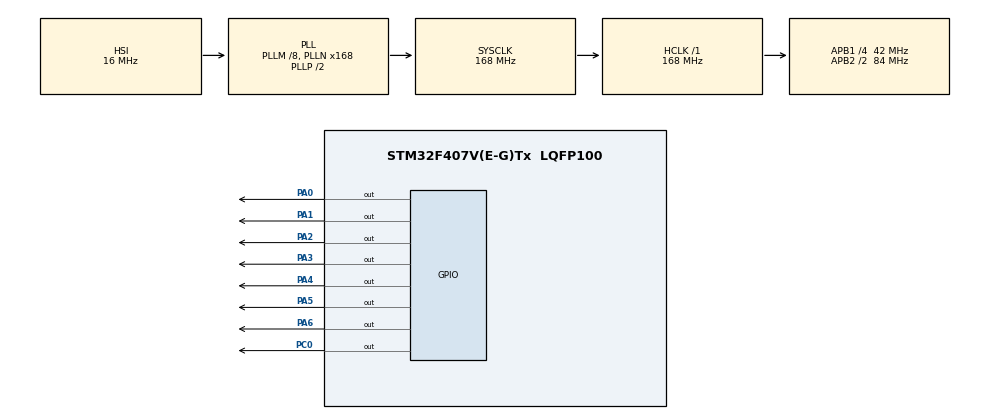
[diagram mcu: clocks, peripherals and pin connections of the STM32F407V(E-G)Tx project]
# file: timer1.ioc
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Mcu.Family=STM32F4
Mcu.Name=STM32F407V(E-G)Tx
Mcu.Package=LQFP100
NVIC.PriorityGroup=NVIC_PRIORITYGROUP_4
NVIC.TIM2_IRQn=true\:0\:0\:false\:false\:true\:true\:true\:true
PA0-WKUP.Signal=GPIO_Output
PA1.Signal=GPIO_Output
PA2.Signal=GPIO_Output
PA3.Signal=GPIO_Output
PA4.Signal=GPIO_Output
PA5.Signal=GPIO_Output
PA6.Signal=GPIO_Output
PC0.Signal=GPIO_Output
PH0-OSC_IN.Mode=HSE-External-Oscillator
PH0-OSC_IN.Signal=RCC_OSC_IN
PH1-OSC_OUT.Mode=HSE-External-Oscillator
PH1-OSC_OUT.Signal=RCC_OSC_OUT
ProjectManager.HeapSize=0x200
ProjectManager.StackSize=0x400
ProjectManager.TargetToolchain=MDK-ARM V5.32
RCC.48MHZClocksFreq_Value=84000000
RCC.AHBFreq_Value=168000000
RCC.APB1CLKDivider=RCC_HCLK_DIV4
RCC.APB1Freq_Value=42000000
RCC.APB1TimFreq_Value=84000000
RCC.APB2CLKDivider=RCC_HCLK_DIV2
RCC.APB2Freq_Value=84000000
RCC.APB2TimFreq_Value=168000000
RCC.CortexFreq_Value=168000000
RCC.HCLKFreq_Value=168000000
RCC.HSE_VALUE=8000000
RCC.HSI_VALUE=16000000
RCC.LSE_VALUE=32768
RCC.PLLM=8
RCC.PLLN=168
RCC.SYSCLKFreq_VALUE=168000000
RCC.SYSCLKSource=RCC_SYSCLKSOURCE_PLLCLK
RCC.VCOOutputFreq_Value=336000000
TIM2.Period=99999
TIM2.Prescaler=41
VP_TIM2_VS_ClockSourceINT.Mode=Internal
board=custom

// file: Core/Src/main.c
/* USER CODE BEGIN Header */
/**
 ******************************************************************************
 * @file           : main.c
 * @brief          : Main program body
 ******************************************************************************
 * @attention
 *
 * Copyright (c) 2025 STMicroelectronics.
 * All rights reserved.
 *
 * This software is licensed under terms that can be found in the LICENSE file
 * in the root directory of this software component.
 * If no LICENSE file comes with this software, it is provided AS-IS.
 *
 ******************************************************************************
 */
/* USER CODE END Header */
#include "main.h"

/* USER CODE BEGIN Includes */
#include "STM_MY_LCD16X2.h"
#include <stdio.h>
#include <stm32f407xx.h>
#include <stm32f4xx_hal_tim.h>

/* USER CODE END Includes */

TIM_HandleTypeDef htim2;

/* USER CODE BEGIN PV */
int count = 0, sec = 0, min = 51, hour = 9;
char flag = 0;

/* USER CODE END PV */

void SystemClock_Config(void);
static void MX_GPIO_Init(void);
static void MX_TIM2_Init(void);
/* USER CODE BEGIN PFP */
void HAL_TIM_PeriodElapsedCallback(TIM_HandleTypeDef* htim);
/* USER CODE END PFP */

/* USER CODE BEGIN 0 */
void HAL_TIM_PeriodElapsedCallback(TIM_HandleTypeDef* htim)
{
	if (htim->Instance == TIM2)
	{
		HAL_GPIO_TogglePin(GPIOC, GPIO_PIN_0);

		count++;
		if (count == 10)
		{
			count = 0;
			sec++;
			flag = 1;
			if (sec == 60)
			{
				sec = 0;
				min++;
				if (min == 60)
				{
					min = 0;
					hour++;
					if (hour == 24)
					{
						hour = 0;
					}
				}
			}
		}
	}
}
/* USER CODE END 0 */

int main(void)
{

	/* MCU Configuration--------------------------------------------------------*/

	/* Reset of all peripherals, Initializes the Flash interface and the Systick. */
	HAL_Init();

	/* Configure the system clock */
	SystemClock_Config();

	/* Initialize all configured peripherals */
	MX_GPIO_Init();
	MX_TIM2_Init();
	/* USER CODE BEGIN 2 */
	HAL_TIM_Base_Start_IT(&htim2);
	LCD1602_Begin4BIT(GPIOA, GPIO_PIN_0, GPIO_PIN_1, GPIOA, GPIO_PIN_3, GPIO_PIN_4, GPIO_PIN_5, GPIO_PIN_6);

	/* USER CODE END 2 */

	/* Infinite loop */
	/* USER CODE BEGIN WHILE */
	while (1)
	{
		// LCD1602_clear();
		// LCD1602_print("Microlab ");
		// HAL_Delay(500);
		// LCD1602_2ndLine();
		// LCD1602_print("ECE.IUT.AC.IR");
		// HAL_Delay(500);
		// LCD1602_clear();
		// LCD1602_PrintInt(12345);
		// HAL_Delay(500);
		// LCD1602_2ndLine();
		// LCD1602_PrintFloat(14.567894, 6);
		// HAL_Delay(500);
		//+++++++++++++++++++++++++++++++++++++++++++++++++++++++++++++++++++++++++++++++++++++++++++
		if (flag)
		{
			LCD1602_clear();
			LCD1602_PrintInt(hour);
			LCD1602_print(":");
			LCD1602_PrintInt(min);
			LCD1602_print(":");
			LCD1602_PrintInt(sec);
			flag = 0;
		}
		/* USER CODE END WHILE */

	}
}

void SystemClock_Config(void)
{
	RCC_OscInitTypeDef RCC_OscInitStruct = { 0 };
	RCC_ClkInitTypeDef RCC_ClkInitStruct = { 0 };

	/** Configure the main internal regulator output voltage
	 */
	__HAL_RCC_PWR_CLK_ENABLE();
	__HAL_PWR_VOLTAGESCALING_CONFIG(PWR_REGULATOR_VOLTAGE_SCALE1);

	/** Initializes the RCC Oscillators according to the specified parameters
	 * in the RCC_OscInitTypeDef structure.
	 */
	RCC_OscInitStruct.OscillatorType = RCC_OSCILLATORTYPE_HSI;
	RCC_OscInitStruct.HSIState = RCC_HSI_ON;
	RCC_OscInitStruct.HSICalibrationValue = RCC_HSICALIBRATION_DEFAULT;
	RCC_OscInitStruct.PLL.PLLState = RCC_PLL_ON;
	RCC_OscInitStruct.PLL.PLLSource = RCC_PLLSOURCE_HSI;
	RCC_OscInitStruct.PLL.PLLM = 8;
	RCC_OscInitStruct.PLL.PLLN = 168;
	RCC_OscInitStruct.PLL.PLLP = RCC_PLLP_DIV2;
	RCC_OscInitStruct.PLL.PLLQ = 4;
	if (HAL_RCC_OscConfig(&RCC_OscInitStruct) != HAL_OK)
	{
		Error_Handler();
	}

	/** Initializes the CPU, AHB and APB buses clocks
	 */
	RCC_ClkInitStruct.ClockType = RCC_CLOCKTYPE_HCLK | RCC_CLOCKTYPE_SYSCLK
		| RCC_CLOCKTYPE_PCLK1 | RCC_CLOCKTYPE_PCLK2;
	RCC_ClkInitStruct.SYSCLKSource = RCC_SYSCLKSOURCE_PLLCLK;
	RCC_ClkInitStruct.AHBCLKDivider = RCC_SYSCLK_DIV1;
	RCC_ClkInitStruct.APB1CLKDivider = RCC_HCLK_DIV4;
	RCC_ClkInitStruct.APB2CLKDivider = RCC_HCLK_DIV2;

	if (HAL_RCC_ClockConfig(&RCC_ClkInitStruct, FLASH_LATENCY_5) != HAL_OK)
	{
		Error_Handler();
	}
}

static void MX_TIM2_Init(void)
{

	TIM_ClockConfigTypeDef sClockSourceConfig = { 0 };
	TIM_MasterConfigTypeDef sMasterConfig = { 0 };

	htim2.Instance = TIM2;
	htim2.Init.Prescaler = 41;
	htim2.Init.CounterMode = TIM_COUNTERMODE_UP;
	htim2.Init.Period = 99999;
	htim2.Init.ClockDivision = TIM_CLOCKDIVISION_DIV1;
	htim2.Init.AutoReloadPreload = TIM_AUTORELOAD_PRELOAD_DISABLE;
	if (HAL_TIM_Base_Init(&htim2) != HAL_OK)
	{
		Error_Handler();
	}
	sClockSourceConfig.ClockSource = TIM_CLOCKSOURCE_INTERNAL;
	if (HAL_TIM_ConfigClockSource(&htim2, &sClockSourceConfig) != HAL_OK)
	{
		Error_Handler();
	}
	sMasterConfig.MasterOutputTrigger = TIM_TRGO_RESET;
	sMasterConfig.MasterSlaveMode = TIM_MASTERSLAVEMODE_DISABLE;
	if (HAL_TIMEx_MasterConfigSynchronization(&htim2, &sMasterConfig) != HAL_OK)
	{
		Error_Handler();
	}
}

static void MX_GPIO_Init(void)
{
	GPIO_InitTypeDef GPIO_InitStruct = { 0 };

	/* GPIO Ports Clock Enable */
	__HAL_RCC_GPIOH_CLK_ENABLE();
	__HAL_RCC_GPIOC_CLK_ENABLE();
	__HAL_RCC_GPIOA_CLK_ENABLE();

	/*Configure GPIO pin Output Level */
	HAL_GPIO_WritePin(GPIOC, GPIO_PIN_0, GPIO_PIN_RESET);

	/*Configure GPIO pin Output Level */
	HAL_GPIO_WritePin(GPIOA, GPIO_PIN_0 | GPIO_PIN_1 | GPIO_PIN_2 | GPIO_PIN_3 | GPIO_PIN_4 | GPIO_PIN_5 | GPIO_PIN_6, GPIO_PIN_RESET);

	/*Configure GPIO pin : PC0 */
	GPIO_InitStruct.Pin = GPIO_PIN_0;
	GPIO_InitStruct.Mode = GPIO_MODE_OUTPUT_PP;
	GPIO_InitStruct.Pull = GPIO_NOPULL;
	GPIO_InitStruct.Speed = GPIO_SPEED_FREQ_LOW;
	HAL_GPIO_Init(GPIOC, &GPIO_InitStruct);

	/*Configure GPIO pins : PA0 PA1 PA2 PA3
							 PA4 PA5 PA6 */
	GPIO_InitStruct.Pin = GPIO_PIN_0 | GPIO_PIN_1 | GPIO_PIN_2 | GPIO_PIN_3
		| GPIO_PIN_4 | GPIO_PIN_5 | GPIO_PIN_6;
	GPIO_InitStruct.Mode = GPIO_MODE_OUTPUT_PP;
	GPIO_InitStruct.Pull = GPIO_NOPULL;
	GPIO_InitStruct.Speed = GPIO_SPEED_FREQ_LOW;
	HAL_GPIO_Init(GPIOA, &GPIO_InitStruct);
}

void Error_Handler(void)
{
	__disable_irq();
	while (1)
	{
	}
}
